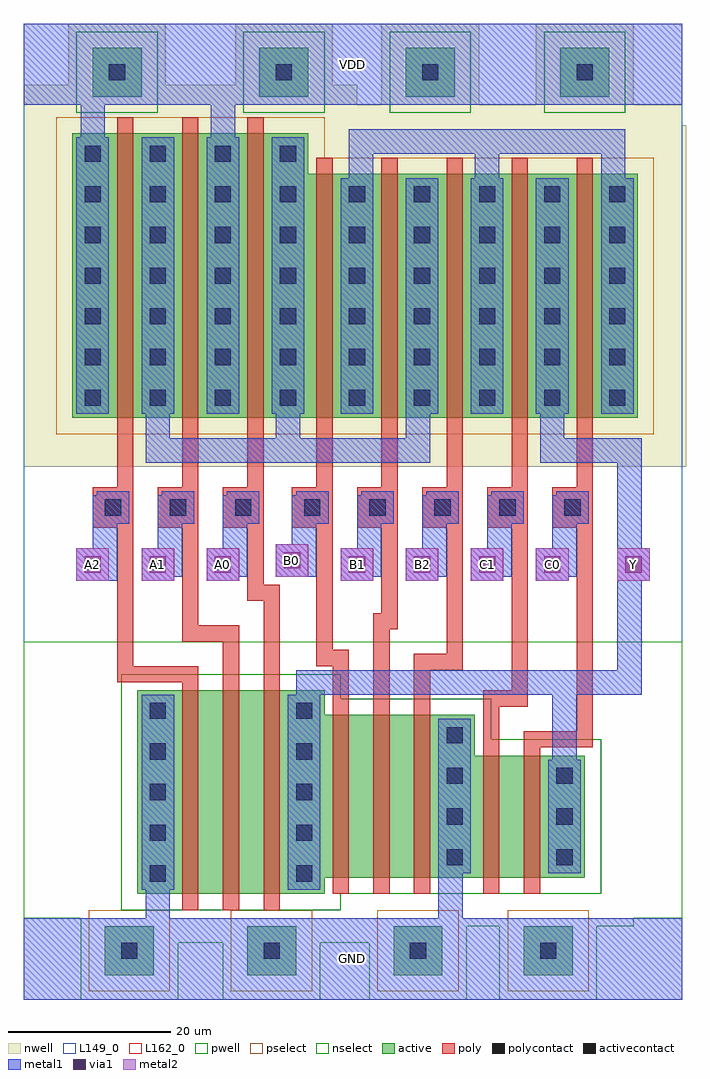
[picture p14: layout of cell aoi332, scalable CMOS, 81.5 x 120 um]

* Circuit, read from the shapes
.subckt aoi332 A0 A1 A2 B0 B1 B2 C0 C1 GND VDD Y
M1 n1 A2 GND GND nfet w=25u l=2u
M2 n2 A1 n1 GND nfet w=25u l=2u
M3 Y A0 n2 GND nfet w=25u l=2u
M4 n3 B0 Y GND nfet w=20u l=2u
M5 n4 B1 n3 GND nfet w=20u l=2u
M6 GND B2 n4 GND nfet w=20u l=2u
M7 n5 C1 GND GND nfet w=15u l=2u
M8 Y C0 n5 GND nfet w=15u l=2u
M9 n6 A2 VDD VDD pfet w=35u l=2u
M10 VDD A1 n6 VDD pfet w=35u l=2u
M11 n6 A0 VDD VDD pfet w=35u l=2u
M12 n7 B0 n6 VDD pfet w=30u l=2u
M13 n6 B1 n7 VDD pfet w=30u l=2u
M14 n7 B2 n6 VDD pfet w=30u l=2u
M15 Y C1 n7 VDD pfet w=30u l=2u
M16 n7 C0 Y VDD pfet w=30u l=2u
.ends

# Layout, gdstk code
import gdstk
lib = gdstk.Library(unit=1e-6, precision=1e-09)
def R(c, l, rs):  # rectangles x0, y0, x1, y1
    for r in rs: c.add(gdstk.rectangle(r[:2], r[2:], *l))
def A(c, l, x, y, w, h, nx, ny, dx, dy):  # array of equal rectangles
    R(c, l, [(x+i*dx, y+j*dy, x+i*dx+w, y+j*dy+h) for i in range(nx) for j in range(ny)])
def P(c, l, *ps):  # polygons
    for p in ps: c.add(gdstk.Polygon(p, *l))
pwell = (41, 0)
nwell = (42, 0)
active = (43, 0)
pselect = (44, 0)
nselect = (45, 0)
poly = (46, 0)
polycontact = (47, 0)
activecontact = (48, 0)
metal1 = (49, 0)
via1 = (50, 0)
metal2 = (51, 0)
L149_0 = (149, 0)
L162_0 = (162, 0)

pwell_contact = lib.new_cell('pwell_contact')
R(pwell_contact, pwell, [(-6,-6,6,5)])
R(pwell_contact, active, [(-3,-3,3,3)])
R(pwell_contact, pselect, [(-5,-5,5,5)])
R(pwell_contact, activecontact, [(-1,-1,1,1)])

nwell_contact = lib.new_cell('nwell_contact')
R(nwell_contact, nwell, [(-6,-5,6,6)])
R(nwell_contact, active, [(-3,-3,3,3)])
R(nwell_contact, nselect, [(-5,-5,5,5)])
R(nwell_contact, activecontact, [(-1,-1,1,1)])

via = lib.new_cell('via')
R(via, metal1, [(-2,-2,2,2)])
R(via, via1, [(-1,-1,1,1)])
R(via, metal2, [(-2,-2,2,2)])

aoi332 = lib.new_cell('aoi332')
R(aoi332, pwell, [(0,10,81,44), (0,10,81,20)])
P(aoi332, pwell, [(43,7),(43,9),(75,9),(75,36),(61.5,36),(61.5,41),(43,41),(43,44),(8,44),(8,7)])
R(aoi332, nwell, [(0,65.5,81,110), (0,95,81,110)])
P(aoi332, nwell, [(81.5,65.5),(81.5,107.5),(41,107.5),(41,112.5),(0,112.5),(0,65.5)])
R(aoi332, active, [(14,13,19.5,38), (63.5,15,69,30), (6,71.5,11.5,106.5), (70,71.5,75.5,101.5)])
P(aoi332, active, [(75.5,71.5),(75.5,101.5),(35,101.5),(35,106.5),(6,106.5),(6,71.5)],
  [(37,13),(37,15),(69,15),(69,30),(55.5,30),(55.5,35),(37,35),(37,38),(14,38),(14,13)])
P(aoi332, pselect, [(77.5,69.5),(77.5,103.5),(37,103.5),(37,108.5),(4,108.5),(4,69.5)])
P(aoi332, nselect, [(39,11),(39,13),(71,13),(71,32),(57.5,32),(57.5,37),(39,37),(39,40),(12,40),(12,11)])
A(aoi332, poly, 19.5, 11, 2, 2, 3, 2, 5, 27)
A(aoi332, poly, 19.5, 13, 2, 25, 3, 1, 5, 0)
A(aoi332, poly, 38, 13, 2, 2, 3, 2, 5, 22)
A(aoi332, poly, 38, 15, 2, 20, 3, 1, 5, 0)
A(aoi332, poly, 8.5, 58, 5, 5, 3, 1, 8, 0)
A(aoi332, poly, 33, 58, 5, 5, 5, 1, 8, 0)
A(aoi332, poly, 11.5, 69.5, 2, 2, 3, 2, 8, 37)
A(aoi332, poly, 36, 69.5, 2, 2, 5, 2, 8, 32)
A(aoi332, poly, 11.5, 71.5, 2, 35, 3, 1, 8, 0)
A(aoi332, poly, 36, 71.5, 2, 30, 5, 1, 8, 0)
R(aoi332, poly, [(56.5,13,58.5,15), (61.5,13,63.5,15), (56.5,15,58.5,30), (61.5,15,63.5,30), (56.5,30,58.5,32), (61.5,30,63.5,32)])
A(aoi332, polycontact, 10, 59.5, 2, 2, 3, 1, 8, 0)
A(aoi332, polycontact, 34.5, 59.5, 2, 2, 5, 1, 8, 0)
A(aoi332, activecontact, 15.5, 14.5, 2, 2, 1, 5, 0, 5)
A(aoi332, activecontact, 33.5, 14.5, 2, 2, 1, 5, 0, 5)
A(aoi332, activecontact, 52, 16.5, 2, 2, 1, 4, 0, 5)
A(aoi332, activecontact, 65.5, 16.5, 2, 2, 1, 3, 0, 5)
A(aoi332, activecontact, 7.5, 73, 2, 2, 4, 7, 8, 5)
A(aoi332, activecontact, 40, 73, 2, 2, 5, 6, 8, 5)
A(aoi332, metal1, 9, 58.5, 4, 4, 3, 1, 8, 0)
A(aoi332, metal1, 33.5, 58.5, 4, 4, 5, 1, 8, 0)
A(aoi332, metal1, 6.5, 72, 4, 34, 4, 1, 8, 0)
A(aoi332, metal1, 39, 72, 4, 29, 5, 1, 8, 0)
R(aoi332, metal1, [(0,0,81,10), (0,0,81,10), (14.5,13.5,18.5,37.5), (32.5,13.5,36.5,37.5), (51,15.5,55,34.5), (64.5,15.5,68.5,29.5), (0,110,81,120), (0,110,81,120)])
A(aoi332, metal2, 6.5, 51.5, 4, 4, 3, 1, 8, 0)
A(aoi332, metal2, 39, 51.5, 4, 4, 4, 1, 8, 0)
R(aoi332, metal2, [(73,51.5,77,55.5), (31,52,35,56)])
A(aoi332, L149_0, 9, 58.5, 4, 4, 3, 1, 8, 0)
A(aoi332, L149_0, 33.5, 58.5, 4, 4, 5, 1, 8, 0)
R(aoi332, L149_0, [(0,0,81,10), (0,0,81,10), (0,0,81,120), (0,110,81,120), (0,110,81,120)])
A(aoi332, L162_0, 6.5, 51.5, 4, 4, 3, 1, 8, 0)
A(aoi332, L162_0, 39, 51.5, 4, 4, 4, 1, 8, 0)
R(aoi332, L162_0, [(73,51.5,77,55.5), (31,52,35,56)])
aoi332.add(gdstk.FlexPath([(41.5,101),(41.5,105.5),(72.5,105.5),(72.5,101)], 3, ends="flush", simple_path=True, layer=149, datatype=0))  # L149_0
aoi332.add(gdstk.FlexPath([(65,72),(65,67.5),(74.5,67.5),(74.5,39),(35,39),(35,37)], 3, ends="flush", simple_path=True, layer=149, datatype=0))  # L149_0
aoi332.add(gdstk.FlexPath([(16.5,13.5),(16.5,10)], 3, ends="flush", simple_path=True, layer=149, datatype=0))  # L149_0
aoi332.add(gdstk.FlexPath([(52.5,15.5),(52.5,10)], 3, ends="flush", simple_path=True, layer=149, datatype=0))  # L149_0
aoi332.add(gdstk.FlexPath([(24.5,106),(24.5,110)], 3, ends="flush", simple_path=True, layer=149, datatype=0))  # L149_0
aoi332.add(gdstk.FlexPath([(57,101),(57,104)], 3, ends="flush", simple_path=True, layer=149, datatype=0))  # L149_0
aoi332.add(gdstk.FlexPath([(48.5,72),(48.5,67.5),(16.5,67.5),(16.5,72)], 3, ends="flush", simple_path=True, layer=149, datatype=0))  # L149_0
aoi332.add(gdstk.FlexPath([(8.5,106),(8.5,110)], 3, ends="flush", simple_path=True, layer=149, datatype=0))  # L149_0
aoi332.add(gdstk.FlexPath([(66.5,29.5),(66.5,37.5)], 3, ends="flush", simple_path=True, layer=149, datatype=0))  # L149_0
aoi332.add(gdstk.FlexPath([(50.5,62),(50.5,52)], 3, ends="flush", simple_path=True, layer=149, datatype=0))  # L149_0
aoi332.add(gdstk.FlexPath([(32.5,72),(32.5,69)], 3, ends="flush", simple_path=True, layer=149, datatype=0))  # L149_0
aoi332.add(gdstk.FlexPath([(58.5,62),(58.5,52)], 3, ends="flush", simple_path=True, layer=149, datatype=0))  # L149_0
aoi332.add(gdstk.FlexPath([(66.5,62),(66.5,52)], 3, ends="flush", simple_path=True, layer=149, datatype=0))  # L149_0
aoi332.add(gdstk.FlexPath([(42.5,62),(42.5,52)], 3, ends="flush", simple_path=True, layer=149, datatype=0))  # L149_0
aoi332.add(gdstk.FlexPath([(18,62),(18,52)], 3, ends="flush", simple_path=True, layer=149, datatype=0))  # L149_0
aoi332.add(gdstk.FlexPath([(10,62),(10,51.5)], 3, ends="flush", simple_path=True, layer=149, datatype=0))  # L149_0
aoi332.add(gdstk.FlexPath([(26,62),(26,52)], 3, ends="flush", simple_path=True, layer=149, datatype=0))  # L149_0
aoi332.add(gdstk.FlexPath([(34.5,62.5),(34.5,52.5)], 3, ends="flush", simple_path=True, layer=149, datatype=0))  # L149_0
aoi332.add(gdstk.FlexPath([(69,69.5),(69,32),(61.5,32)], 2, ends="flush", simple_path=True, layer=46, datatype=0))  # poly
aoi332.add(gdstk.FlexPath([(61,69.5),(61,37),(57.5,37),(57.5,32)], 2, ends="flush", simple_path=True, layer=46, datatype=0))  # poly
aoi332.add(gdstk.FlexPath([(12.5,69.5),(12.5,40),(21.5,40)], 2, ends="flush", simple_path=True, layer=46, datatype=0))  # poly
aoi332.add(gdstk.FlexPath([(53,69.5),(53,41.5),(49,41.5),(49,37)], 2, ends="flush", simple_path=True, layer=46, datatype=0))  # poly
aoi332.add(gdstk.FlexPath([(20.5,69.5),(20.5,45),(25.5,45),(25.5,40)], 2, ends="flush", simple_path=True, layer=46, datatype=0))  # poly
aoi332.add(gdstk.FlexPath([(37,69.5),(37,42),(39,42),(39,37)], 2, ends="flush", simple_path=True, layer=46, datatype=0))  # poly
aoi332.add(gdstk.FlexPath([(45,69.5),(45,46.5),(44,46.5),(44,37)], 2, ends="flush", simple_path=True, layer=46, datatype=0))  # poly
aoi332.add(gdstk.FlexPath([(28.5,69.5),(28.5,50),(30.5,50),(30.5,37.5)], 2, ends="flush", simple_path=True, layer=46, datatype=0))  # poly
aoi332.add(gdstk.FlexPath([(52.5,15.5),(52.5,10)], 3, ends="flush", simple_path=True, layer=49, datatype=0))  # metal1
aoi332.add(gdstk.FlexPath([(24.5,106),(24.5,110)], 3, ends="flush", simple_path=True, layer=49, datatype=0))  # metal1
aoi332.add(gdstk.FlexPath([(66.5,29.5),(66.5,37.5)], 3, ends="flush", simple_path=True, layer=49, datatype=0))  # metal1
aoi332.add(gdstk.FlexPath([(48.5,72),(48.5,67.5),(16.5,67.5),(16.5,72)], 3, ends="flush", simple_path=True, layer=49, datatype=0))  # metal1
aoi332.add(gdstk.FlexPath([(8.5,106),(8.5,110)], 3, ends="flush", simple_path=True, layer=49, datatype=0))  # metal1
aoi332.add(gdstk.FlexPath([(50.5,62),(50.5,52)], 3, ends="flush", simple_path=True, layer=49, datatype=0))  # metal1
aoi332.add(gdstk.FlexPath([(32.5,72),(32.5,69)], 3, ends="flush", simple_path=True, layer=49, datatype=0))  # metal1
aoi332.add(gdstk.FlexPath([(57,101),(57,104)], 3, ends="flush", simple_path=True, layer=49, datatype=0))  # metal1
aoi332.add(gdstk.FlexPath([(41.5,101),(41.5,105.5),(72.5,105.5),(72.5,101)], 3, ends="flush", simple_path=True, layer=49, datatype=0))  # metal1
aoi332.add(gdstk.FlexPath([(58.5,62),(58.5,52)], 3, ends="flush", simple_path=True, layer=49, datatype=0))  # metal1
aoi332.add(gdstk.FlexPath([(65,72),(65,67.5),(74.5,67.5),(74.5,39),(35,39),(35,37)], 3, ends="flush", simple_path=True, layer=49, datatype=0))  # metal1
aoi332.add(gdstk.FlexPath([(34.5,62),(34.5,52)], 3, ends="flush", simple_path=True, layer=49, datatype=0))  # metal1
aoi332.add(gdstk.FlexPath([(66.5,62),(66.5,52)], 3, ends="flush", simple_path=True, layer=49, datatype=0))  # metal1
aoi332.add(gdstk.FlexPath([(42.5,62),(42.5,52)], 3, ends="flush", simple_path=True, layer=49, datatype=0))  # metal1
aoi332.add(gdstk.FlexPath([(18,62),(18,52)], 3, ends="flush", simple_path=True, layer=49, datatype=0))  # metal1
aoi332.add(gdstk.FlexPath([(10,62),(10,51.5)], 3, ends="flush", simple_path=True, layer=49, datatype=0))  # metal1
aoi332.add(gdstk.FlexPath([(26,62),(26,52)], 3, ends="flush", simple_path=True, layer=49, datatype=0))  # metal1
aoi332.add(gdstk.FlexPath([(16.5,13.5),(16.5,10)], 3, ends="flush", simple_path=True, layer=49, datatype=0))  # metal1
aoi332.add(gdstk.Reference(pwell_contact, (13,6)))
aoi332.add(gdstk.Reference(pwell_contact, (30.5,6)))
aoi332.add(gdstk.Reference(pwell_contact, (48.5,6)))
aoi332.add(gdstk.Reference(pwell_contact, (64.5,6)))
aoi332.add(gdstk.Reference(nwell_contact, (11.5,114)))
aoi332.add(gdstk.Reference(nwell_contact, (69,114)))
aoi332.add(gdstk.Reference(nwell_contact, (32,114)))
aoi332.add(gdstk.Reference(nwell_contact, (50,114)))
aoi332.add(gdstk.Reference(via, (16.5,53.5)))
aoi332.add(gdstk.Reference(via, (24.5,53.5)))
aoi332.add(gdstk.Reference(via, (75,53.5)))
aoi332.add(gdstk.Reference(via, (65,53.5)))
aoi332.add(gdstk.Reference(via, (41,53.5)))
aoi332.add(gdstk.Reference(via, (49,53.5)))
aoi332.add(gdstk.Reference(via, (57,53.5)))
aoi332.add(gdstk.Reference(via, (8.5,53.5)))
aoi332.add(gdstk.Reference(via, (33,54)))
aoi332.add(gdstk.Label('A2', (8.5,53.5), layer=3, texttype=0))
aoi332.add(gdstk.Label('A1', (16.5,53.5), layer=3, texttype=0))
aoi332.add(gdstk.Label('A0', (24.5,53.5), layer=3, texttype=0))
aoi332.add(gdstk.Label('Y', (75,53.5), layer=3, texttype=0))
aoi332.add(gdstk.Label('C0', (65,53.5), layer=3, texttype=0))
aoi332.add(gdstk.Label('B1', (41,53.5), layer=3, texttype=0))
aoi332.add(gdstk.Label('B2', (49,53.5), layer=3, texttype=0))
aoi332.add(gdstk.Label('C1', (57,53.5), layer=3, texttype=0))
aoi332.add(gdstk.Label('B0', (33,54), layer=3, texttype=0))
aoi332.add(gdstk.Label('GND', (40.5,5), layer=2, texttype=0))
aoi332.add(gdstk.Label('VDD', (40.5,115), layer=2, texttype=0))

lib.write_gds('aoi332.gds')
